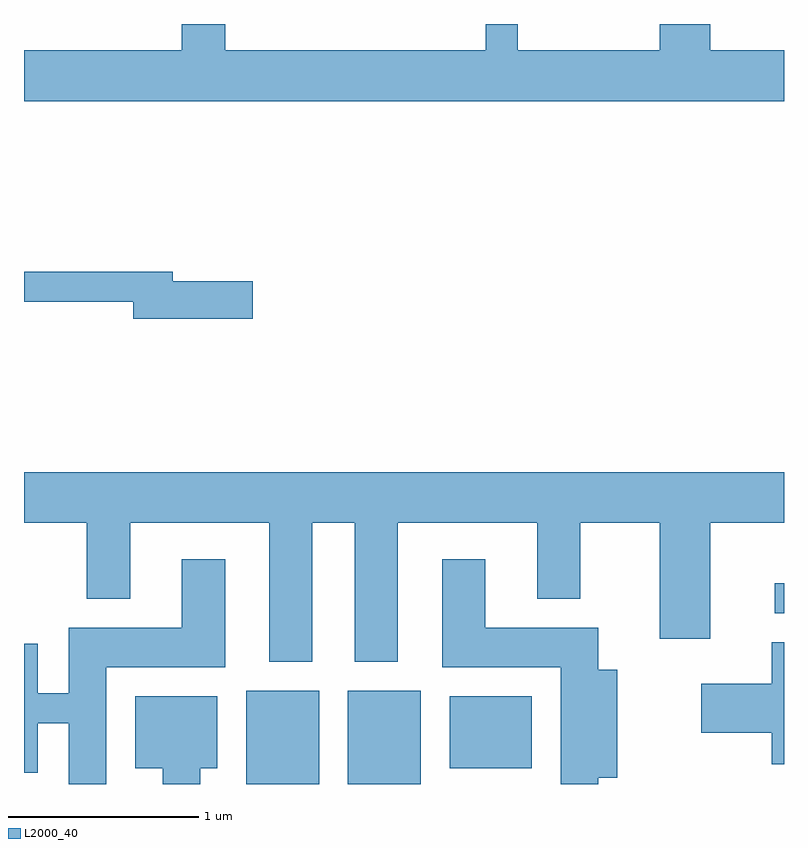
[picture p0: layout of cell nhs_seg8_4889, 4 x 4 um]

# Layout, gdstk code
import gdstk
lib = gdstk.Library(unit=1e-6, precision=1e-09)
def R(c, l, rs):  # rectangles x0, y0, x1, y1
    for r in rs: c.add(gdstk.rectangle(r[:2], r[2:], *l))
def P(c, l, *ps):  # polygons
    for p in ps: c.add(gdstk.Polygon(p, *l))
L2000_40 = (2000, 40)

nhs_seg8_4889 = lib.new_cell('nhs_seg8_4889')
R(nhs_seg8_4889, L2000_40, [(332.781,1868.342,333.164,1868.834), (333.316,1868.342,333.699,1868.834), (333.851,1868.426,334.284,1868.804), (335.563,1869.241,335.611,1869.399)])
P(nhs_seg8_4889, L2000_40, [(335.611,1872.204),(335.224,1872.204),(335.224,1872.342),(334.956,1872.342),(334.956,1872.204),(334.209,1872.204),(334.209,1872.342),(334.041,1872.342),(334.041,1872.204),(332.669,1872.204),(332.669,1872.342),(332.441,1872.342),(332.441,1872.204),(331.611,1872.204),(331.611,1871.936),(335.611,1871.936)],
  [(332.814,1870.989),(332.394,1870.989),(332.394,1871.039),(331.611,1871.039),(331.611,1870.881),(332.186,1870.881),(332.186,1870.791),(332.814,1870.791)],
  [(333.129,1869.716),(333.351,1869.716),(333.351,1868.986),(333.579,1868.986),(333.579,1869.716),(334.311,1869.716),(334.311,1869.316),(334.539,1869.316),(334.539,1869.716),(334.956,1869.716),(334.956,1869.106),(335.224,1869.106),(335.224,1869.716),(335.611,1869.716),(335.611,1869.984),(331.611,1869.984),(331.611,1869.716),(331.941,1869.716),(331.941,1869.316),(332.169,1869.316),(332.169,1869.716),(332.901,1869.716),(332.901,1868.986),(333.129,1868.986)],
  [(334.634,1868.376),(334.734,1868.376),(334.734,1868.944),(334.634,1868.944),(334.634,1869.164),(334.039,1869.164),(334.039,1869.524),(333.811,1869.524),(333.811,1868.956),(334.436,1868.956),(334.436,1868.342),(334.634,1868.342)],
  [(332.044,1868.956),(332.669,1868.956),(332.669,1869.524),(332.441,1869.524),(332.441,1869.164),(331.846,1869.164),(331.846,1868.819),(331.684,1868.819),(331.684,1869.079),(331.611,1869.079),(331.611,1868.401),(331.684,1868.401),(331.684,1868.661),(331.846,1868.661),(331.846,1868.342),(332.044,1868.342)],
  [(335.611,1869.089),(335.546,1869.089),(335.546,1868.869),(335.176,1868.869),(335.176,1868.611),(335.546,1868.611),(335.546,1868.446),(335.611,1868.446)],
  [(332.539,1868.426),(332.629,1868.426),(332.629,1868.804),(332.196,1868.804),(332.196,1868.426),(332.341,1868.426),(332.341,1868.342),(332.539,1868.342)])

lib.write_gds('nhs_seg8_4889.gds')
